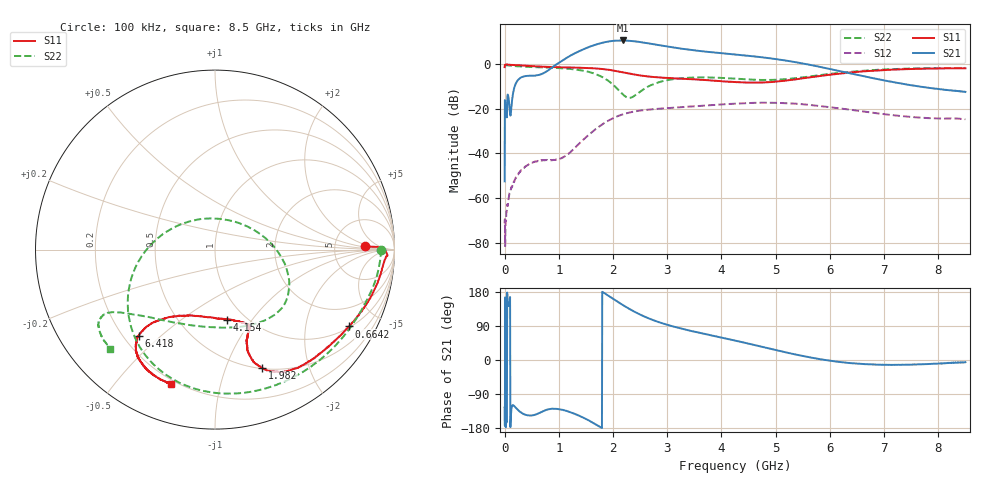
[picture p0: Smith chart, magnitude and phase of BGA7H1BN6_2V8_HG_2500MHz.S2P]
!Agilent Technologies,E5071C,MY46105553,A.09.30
!Date: Wed Sep 23 13:43:36 2015
!Data & Calibration Information:
!Freq	S11:SOLT2(ON)	S21:SOLT2(ON)	S12:SOLT2(ON)	S22:SOLT2(ON)
# Hz S dB R 50
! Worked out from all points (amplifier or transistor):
!   1601 points, 100 kHz to 8.5 GHz, reference 50 ohm
!   highest |S21| = 10.3 dB at 2.178 GHz (marker M1)
!   |S21| within 3 dB of that: 1.549 GHz to 3.076 GHz (1.527 GHz wide, 66 % of centre)
!   unconditionally stable (mu >= 1): start of sweep to end of sweep
!   at 1.413 GHz: K = 2.95, MAG = 12.8 dB, |S12| = -34.8 dB
!   at 4.25 GHz: K = 1.76, MAG = 5.9 dB, |S12| = -17.8 dB
!   at 8.5 GHz: K = 4.82, MAG = -3.7 dB, |S12| = -24.7 dB
!   lowest NFmin = 0.73 dB at 1.8 GHz
!   S11 on the Smith chart (normalised r, x): 100 kHz: 11, +1; 664.2 MHz: 1.06, -3.45; 1.982 GHz: 0.51, -1.35; 4.154 GHz: 0.82, -0.76; 6.418 GHz: 0.26, -0.42; 8.5 GHz: 0.18, -0.71
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100000  -1.56 1.2  -52.42 -125.6  -71.05 -153.3  -0.68 0.0
4.791194e7  -0.35 -2.2  -19.54 177.9  -64.12 91.8  -0.74 -6.3
1.275985e8  -0.58 -6.5  -18.84 -127.4  -55.35 91.9  -0.94 -16.1
2.179099e8  -0.68 -11.3  -8.33 -127.8  -50.31 90.1  -1.14 -25.8
3.879079e8  -0.92 -19.1  -5.51 -144.7  -45.72 84.3  -1.38 -42.5
6.641547e8  -1.32 -29.9  -4.82 -138.4  -43.18 82.7  -1.66 -66.6
1.041338e9  -1.63 -41.9  1.02 -130.8  -42.15 112.4  -2.04 -94.6
1.418521e9  -1.84 -52.7  6.00 -150.0  -34.64 145.7  -3.00 -122.5
1.689455e9  -2.14 -60.7  8.52 -170.4  -28.96 143.6  -4.73 -146.9
1.838203e9  -2.49 -64.8  9.48 176.6  -26.44 137.5  -6.47 -164.0
1.981639e9  -2.96 -68.2  10.06 163.4  -24.52 129.8  -8.97 175.2
2.178199e9  -3.82 -71.4  10.32 145.4  -22.59 117.8  -13.64 130.4
2.475696e9  -5.16 -71.2  9.70 121.6  -20.98 101.5  -12.90 33.6
2.836942e9  -6.10 -67.8  8.27 100.3  -20.09 87.5  -8.34 -8.8
3.368185e9  -6.84 -66.2  6.31 79.1  -19.18 74.6  -6.29 -34.1
4.154426e9  -8.05 -80.3  4.28 54.3  -17.93 59.2  -6.56 -61.5
4.25005e9  -8.18 -83.1  4.06 51.3  -17.78 57.2  -6.68 -65.4
4.92473e9  -8.21 -109.4  2.27 28.7  -17.40 41.0  -7.24 -99.9
5.668471e9  -5.98 -128.4  -0.72 6.0  -18.48 24.6  -5.59 -134.3
6.417524e9  -3.86 -131.6  -4.55 -8.7  -20.65 16.9  -3.55 -148.4
7.086892e9  -2.75 -126.7  -7.87 -12.8  -22.74 19.2  -2.52 -148.9
8.5e9  -2.09 -108.2  -12.57 -5.7  -24.69 40.3  -1.89 -136.5
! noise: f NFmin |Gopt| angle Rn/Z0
1.8e+09  0.7316  0.4626  48.02  0.3865
1.9e+09  0.7426  0.4624  50.32  0.3552
2e+09  0.7598  0.4511  52.98  0.3048
2.1e+09  0.7713  0.4794  57.87  0.2638
2.2e+09  0.7927  0.4499  59.1  0.2309
2.3e+09  0.8106  0.4848  57.38  0.222
2.4e+09  0.8302  0.4911  57.47  0.2477
2.5e+09  0.8556  0.4737  61.79  0.2294
2.6e+09  0.8777  0.4838  61.43  0.2352
2.7e+09  0.8928  0.4748  64.44  0.2167
